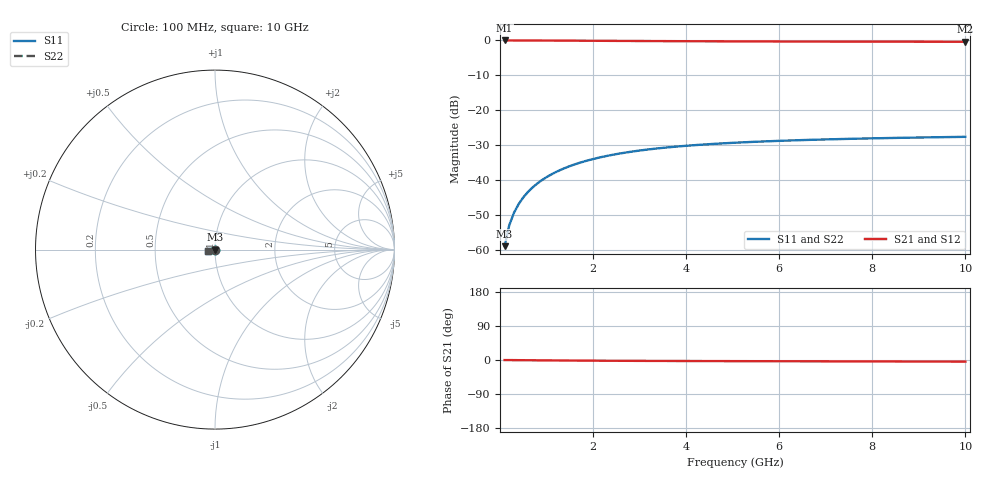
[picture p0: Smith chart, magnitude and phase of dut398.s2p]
! Touchstone file exported from HFSS 2024.1.0
!  File:  C:/UserFiles/LocalFiles/RDL_TSV_Batchsim/temp_TSV1_398_1779624577.aedt
!  Generated:  08:17:07 PM May 24, 2026
!  Design:  TSV1
!  Project:  temp_TSV1_398_1779624577
!  Setup:  Setup1
!  Solution:  Sweep
! Variables:
!  dtsv = 11.48um
!  hbump = 3um
!  htsv = 64.71um
!  lrdl = 252.1521522um
!  p = 40
!  p1 = 47.64um
!  t = 500um
!  trdl = 3um
!  wrdl = 24.89489489um
# GHz S MA R 50.000000
! Terminal data exported
! Port[1] = TSV22_T1
! Port[2] = TSV22_T2
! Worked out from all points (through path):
!   100 points, 100 MHz to 10 GHz, reference 50 ohm
!   highest |S21| = 0.00 dB at 100 MHz (marker M1); lowest = -0.4 dB at 10 GHz (marker M2)
!   lowest |S11| = -58.8 dB at 100 MHz (marker M3), VSWR 1.00, Z = 50 - j0.114 ohm
!   |S11| at or under -10 dB: start of sweep to end of sweep
!   |S22| runs from -58.8 to -27.6 dB; largest |S21 - S12| = 5e-15
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0.1  0.001143 -86.8  0.9999 -0.1  0.9999 -0.1  0.001143 -86.8
! Gamma 0 0 0 0
! Port Impedance 50 0 50 0
0.2  0.00228 -90.7  0.9998 -0.2  0.9998 -0.2  0.00228 -90.7
0.3  0.003418 -93.1  0.9996 -0.3  0.9996 -0.3  0.003418 -93.1
0.4  0.004552 -95.2  0.9993 -0.4  0.9993 -0.4  0.004552 -95.2
0.5  0.005679 -97.1  0.999 -0.5  0.999 -0.5  0.005679 -97.1
0.6  0.006793 -98.9  0.9986 -0.6  0.9986 -0.6  0.006793 -98.9
0.7  0.007893 -100.7  0.9982 -0.7  0.9982 -0.7  0.007893 -100.7
0.8  0.008976 -102.4  0.9977 -0.8  0.9977 -0.8  0.008976 -102.4
0.9  0.01004 -104.1  0.9972 -0.9  0.9972 -0.9  0.01004 -104.1
1.1  0.0121 -107.4  0.996 -1.1  0.996 -1.1  0.0121 -107.4
1.4  0.01502 -112.1  0.994 -1.3  0.994 -1.3  0.01502 -112.1
1.6  0.01683 -115.0  0.9926 -1.5  0.9926 -1.5  0.01683 -115.0
1.8  0.01854 -117.9  0.991 -1.6  0.991 -1.6  0.01854 -117.9
2.1  0.0209 -121.9  0.9887 -1.8  0.9887 -1.8  0.0209 -121.9
2.5  0.02368 -126.7  0.9856 -2.1  0.9856 -2.1  0.02368 -126.7
2.9  0.02609 -131.2  0.9826 -2.3  0.9826 -2.3  0.02609 -131.2
3.4  0.02864 -136.1  0.9791 -2.5  0.9791 -2.5  0.02864 -136.1
4.2  0.03187 -142.9  0.9743 -2.8  0.9743 -2.8  0.03187 -142.9
5.1  0.0346 -149.2  0.97 -3.0  0.97 -3.0  0.0346 -149.2
6.7  0.03794 -158.1  0.9643 -3.4  0.9643 -3.4  0.03794 -158.1
8.4  0.04027 -165.4  0.9603 -3.9  0.9603 -3.9  0.04027 -165.4
10  0.04184 -171.0  0.9577 -4.3  0.9577 -4.3  0.04184 -171.0
